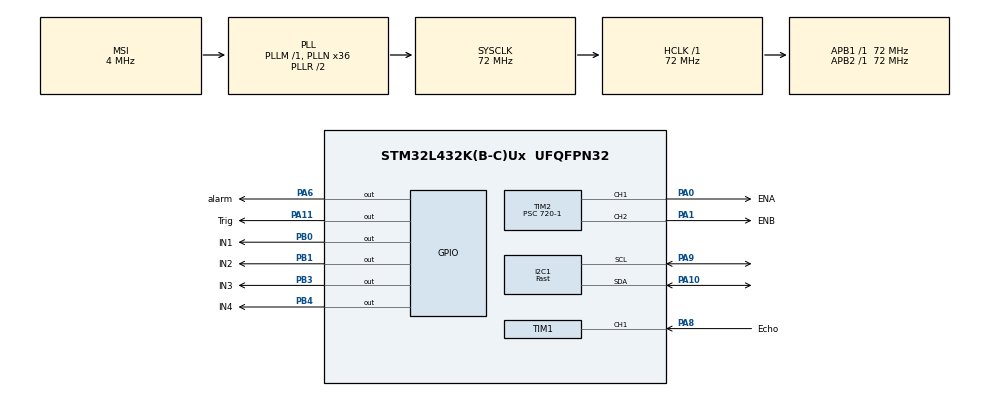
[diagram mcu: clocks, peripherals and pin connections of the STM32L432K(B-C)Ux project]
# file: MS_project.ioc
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I2C1.I2C_Speed_Mode=I2C_Fast
I2C1.Timing=0x00E12573
Mcu.Family=STM32L4
Mcu.Name=STM32L432K(B-C)Ux
Mcu.Package=UFQFPN32
NVIC.PriorityGroup=NVIC_PRIORITYGROUP_4
NVIC.TIM1_CC_IRQn=true\:0\:0\:false\:false\:true\:true\:true\:true
PA0.GPIO_Label=ENA
PA0.Signal=S_TIM2_CH1
PA1.GPIO_Label=ENB
PA1.Signal=S_TIM2_CH2
PA10.Mode=I2C
PA10.Signal=I2C1_SDA
PA11.GPIO_Label=Trig
PA11.Signal=GPIO_Output
PA6.GPIO_Label=alarm
PA6.Signal=GPIO_Output
PA8.GPIO_Label=Echo
PA8.Signal=S_TIM1_CH1
PA9.Mode=I2C
PA9.Signal=I2C1_SCL
PB0.GPIO_Label=IN1
PB0.Signal=GPIO_Output
PB1.GPIO_Label=IN2
PB1.Signal=GPIO_Output
PB3\ (JTDO-TRACESWO).GPIO_Label=IN3
PB3\ (JTDO-TRACESWO).Signal=GPIO_Output
PB4\ (NJTRST).GPIO_Label=IN4
PB4\ (NJTRST).Signal=GPIO_Output
ProjectManager.HeapSize=0x200
ProjectManager.StackSize=0x400
ProjectManager.TargetToolchain=STM32CubeIDE
RCC.AHBFreq_Value=72000000
RCC.APB1Freq_Value=72000000
RCC.APB1TimFreq_Value=72000000
RCC.APB2Freq_Value=72000000
RCC.APB2TimFreq_Value=72000000
RCC.CortexFreq_Value=72000000
RCC.HCLKFreq_Value=72000000
RCC.HSE_VALUE=8000000
RCC.HSI48_VALUE=48000000
RCC.HSI_VALUE=16000000
RCC.LSE_VALUE=32768
RCC.MSI_VALUE=4000000
RCC.PLLN=36
RCC.SYSCLKFreq_VALUE=72000000
RCC.SYSCLKSource=RCC_SYSCLKSOURCE_PLLCLK
RCC.VCOOutputFreq_Value=144000000
SH.S_TIM1_CH1.0=TIM1_CH1,Input_Capture1_from_TI1
SH.S_TIM2_CH1.0=TIM2_CH1,PWM Generation1 CH1
SH.S_TIM2_CH2.0=TIM2_CH2,PWM Generation2 CH2
TIM1.Channel-Input_Capture1_from_TI1=TIM_CHANNEL_1
TIM1.Channel-Input_Capture2_from_TI1_63=TIM_CHANNEL_2
TIM1.ICPolarity_CH2=TIM_INPUTCHANNELPOLARITY_FALLING
TIM1.Prescaler=72-1
TIM2.Channel-PWM\ Generation1\ CH1=TIM_CHANNEL_1
TIM2.Channel-PWM\ Generation2\ CH2=TIM_CHANNEL_2
TIM2.Period=100-1
TIM2.Prescaler=720-1
VP_TIM1_VS_ClockSourceINT.Mode=Internal
VP_TIM1_VS_indirect_ch1.Mode=Input_Capture2_from_TI1_63
VP_TIM2_VS_ClockSourceINT.Mode=Internal
board=custom

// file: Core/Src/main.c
/* USER CODE BEGIN Header */
/**
  ******************************************************************************
  * @file           : main.c
  * @brief          : Main program body
  ******************************************************************************
  * @attention
  *
  * Copyright (c) 2026 STMicroelectronics.
  * All rights reserved.
  *
  * This software is licensed under terms that can be found in the LICENSE file
  * in the root directory of this software component.
  * If no LICENSE file comes with this software, it is provided AS-IS.
  *
  ******************************************************************************
  */
/* USER CODE END Header */
#include "main.h"
#include "i2c.h"
#include "tim.h"
#include "gpio.h"

/* USER CODE BEGIN Includes */
#include <stdio.h>
#include "motor.h"
#include "buzzer.h"
#include "oled.h"
#include "font.h"

/* USER CODE END Includes */

/* USER CODE BEGIN PTD */
volatile uint32_t upedge = 0;
volatile uint32_t downedge = 0;
volatile float distance = 0.0f;

void HAL_TIM_IC_CaptureCallback(TIM_HandleTypeDef *htim)
	  {
		  if (htim == &htim1 && htim->Channel == HAL_TIM_ACTIVE_CHANNEL_2)
		  {
			  upedge = HAL_TIM_ReadCapturedValue(&htim1, TIM_CHANNEL_1);
			  downedge = HAL_TIM_ReadCapturedValue(&htim1, TIM_CHANNEL_2);
			  if (downedge >= upedge)
			  {
				  distance = (downedge - upedge) * 0.034f / 2.0f;
			  }
			  else
			  {
				  distance = (0x10000 - upedge + downedge) * 0.034f / 2.0f;
			  }
		  }

	  }
/* USER CODE END PTD */

void SystemClock_Config(void);

int main(void)
{

  /* MCU Configuration--------------------------------------------------------*/

  /* Reset of all peripherals, Initializes the Flash interface and the Systick. */
  HAL_Init();

  /* Configure the system clock */
  SystemClock_Config();

  /* Initialize all configured peripherals */
  MX_GPIO_Init();
  MX_I2C1_Init();
  MX_TIM1_Init();
  MX_TIM2_Init();
  /* USER CODE BEGIN 2 */

  OLED_Init();
  Motor_Init();
  Buzzer_Init();
  HAL_TIM_Base_Start(&htim1);
  HAL_TIM_IC_Start(&htim1,TIM_CHANNEL_1);
  HAL_TIM_IC_Start_IT(&htim1,TIM_CHANNEL_2);
  HAL_Delay(100);
  /*oled原神启动函数*/
  OLED_NewFrame();
  OLED_DrawImage(0, 0, &genshinImg, OLED_COLOR_REVERSED);
  OLED_ShowFrame();
  HAL_Delay(1000);

  OLED_NewFrame();
  OLED_PrintString(24, 0, "启动", &font40x64, OLED_COLOR_NORMAL);
  OLED_ShowFrame();
  HAL_Delay(1000);

  char message[20] = "";
  /* USER CODE END 2 */

  /* Infinite loop */
  while (1)
  {

    /* USER CODE BEGIN 3 */
	  HAL_GPIO_WritePin(Trig_GPIO_Port, Trig_Pin, GPIO_PIN_SET);
	  HAL_Delay(1);
	  HAL_GPIO_WritePin(Trig_GPIO_Port, Trig_Pin, GPIO_PIN_RESET);
	  __HAL_TIM_SET_COUNTER(&htim1, 0);
	  HAL_Delay(20);

	  if (distance > 20.0f)
	  {
		  Buzzer_Off();
		  Car_Forward();
	  }
	  else if (distance > 10.0f)
	  {
		  Buzzer_On();
		  Car_SlowStop();
	  }
	  else
	  {
		  Buzzer_On();
		  Car_FastStop();
	  }

	  {
		  OLED_NewFrame();
		  sprintf(message, "距离: %.2fcm", distance);
		  OLED_PrintString(0, 0, message, &font16x16, OLED_COLOR_NORMAL);
		  OLED_ShowFrame();
	  }

  }
  /* USER CODE END 3 */
}

void SystemClock_Config(void)
{
  RCC_OscInitTypeDef RCC_OscInitStruct = {0};
  RCC_ClkInitTypeDef RCC_ClkInitStruct = {0};

  /** Configure the main internal regulator output voltage
  */
  if (HAL_PWREx_ControlVoltageScaling(PWR_REGULATOR_VOLTAGE_SCALE1) != HAL_OK)
  {
    Error_Handler();
  }

  /** Initializes the RCC Oscillators according to the specified parameters
  * in the RCC_OscInitTypeDef structure.
  */
  RCC_OscInitStruct.OscillatorType = RCC_OSCILLATORTYPE_MSI;
  RCC_OscInitStruct.MSIState = RCC_MSI_ON;
  RCC_OscInitStruct.MSICalibrationValue = 0;
  RCC_OscInitStruct.MSIClockRange = RCC_MSIRANGE_6;
  RCC_OscInitStruct.PLL.PLLState = RCC_PLL_ON;
  RCC_OscInitStruct.PLL.PLLSource = RCC_PLLSOURCE_MSI;
  RCC_OscInitStruct.PLL.PLLM = 1;
  RCC_OscInitStruct.PLL.PLLN = 36;
  RCC_OscInitStruct.PLL.PLLP = RCC_PLLP_DIV7;
  RCC_OscInitStruct.PLL.PLLQ = RCC_PLLQ_DIV2;
  RCC_OscInitStruct.PLL.PLLR = RCC_PLLR_DIV2;
  if (HAL_RCC_OscConfig(&RCC_OscInitStruct) != HAL_OK)
  {
    Error_Handler();
  }

  /** Initializes the CPU, AHB and APB buses clocks
  */
  RCC_ClkInitStruct.ClockType = RCC_CLOCKTYPE_HCLK|RCC_CLOCKTYPE_SYSCLK
                              |RCC_CLOCKTYPE_PCLK1|RCC_CLOCKTYPE_PCLK2;
  RCC_ClkInitStruct.SYSCLKSource = RCC_SYSCLKSOURCE_PLLCLK;
  RCC_ClkInitStruct.AHBCLKDivider = RCC_SYSCLK_DIV1;
  RCC_ClkInitStruct.APB1CLKDivider = RCC_HCLK_DIV1;
  RCC_ClkInitStruct.APB2CLKDivider = RCC_HCLK_DIV1;

  if (HAL_RCC_ClockConfig(&RCC_ClkInitStruct, FLASH_LATENCY_4) != HAL_OK)
  {
    Error_Handler();
  }
}

void Error_Handler(void)
{
  __disable_irq();
  while (1)
  {
  }
}
